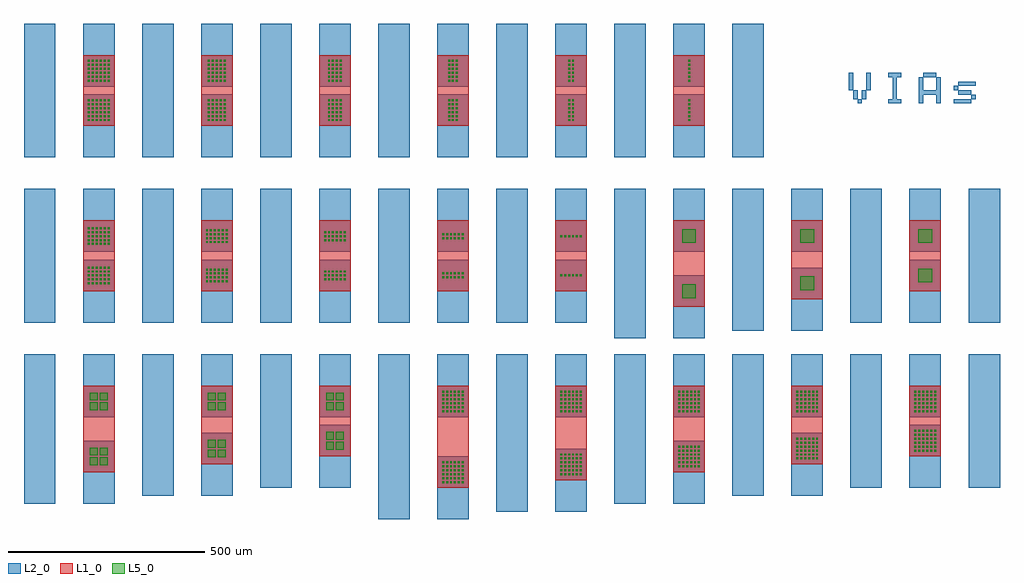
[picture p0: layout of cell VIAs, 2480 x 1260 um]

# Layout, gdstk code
import gdstk
lib = gdstk.Library(unit=1e-6, precision=1e-09)
def R(c, l, rs):  # rectangles x0, y0, x1, y1
    for r in rs: c.add(gdstk.rectangle(r[:2], r[2:], *l))
def A(c, l, x, y, w, h, nx, ny, dx, dy):  # array of equal rectangles
    R(c, l, [(x+i*dx, y+j*dy, x+i*dx+w, y+j*dy+h) for i in range(nx) for j in range(ny)])
def P(c, l, *ps):  # polygons
    for p in ps: c.add(gdstk.Polygon(p, *l))
L1_0 = (1, 0)
L2_0 = (2, 0)
L5_0 = (5, 0)

vias = lib.new_cell('VIAs')
A(vias, L1_0, -2967.977, 39525.417, 80, 180, 5, 1, 300, 0)
A(vias, L1_0, -2967.977, 39945.417, 80, 180, 6, 1, 300, 0)
R(vias, L1_0, [(-2067.977,39025.417,-1987.977,39285.417), (-1767.977,39045.417,-1687.977,39285.417), (-2967.977,39065.417,-2887.977,39285.417), (-1467.977,39065.417,-1387.977,39285.417), (-2667.977,39085.417,-2587.977,39285.417), (-1167.977,39085.417,-1087.977,39285.417), (-2367.977,39105.417,-2287.977,39285.417), (-867.977,39105.417,-787.977,39285.417), (-1467.977,39485.417,-1387.977,39705.417), (-1167.977,39505.417,-1087.977,39705.417), (-867.977,39525.417,-787.977,39705.417)])
A(vias, L2_0, -2967.977, 39205.417, 80, 160, 8, 2, 300, 420)
A(vias, L2_0, -3117.977, 39445.417, 80, 340, 5, 1, 300, 0)
A(vias, L2_0, -2967.977, 39445.417, 80, 160, 5, 1, 300, 0)
A(vias, L2_0, -3117.977, 39865.417, 80, 340, 7, 1, 300, 0)
A(vias, L2_0, -2967.977, 39865.417, 80, 160, 6, 2, 300, 180)
R(vias, L2_0, [(-2217.977,38945.417,-2137.977,39365.417), (-2067.977,38945.417,-1987.977,39105.417), (-1917.977,38965.417,-1837.977,39365.417), (-1767.977,38965.417,-1687.977,39125.417), (-3117.977,38985.417,-3037.977,39365.417), (-2967.977,38985.417,-2887.977,39145.417), (-1617.977,38985.417,-1537.977,39365.417), (-1467.977,38985.417,-1387.977,39145.417), (-2817.977,39005.417,-2737.977,39365.417), (-2667.977,39005.417,-2587.977,39165.417), (-1317.977,39005.417,-1237.977,39365.417), (-1167.977,39005.417,-1087.977,39165.417), (-2517.977,39025.417,-2437.977,39365.417), (-2367.977,39025.417,-2287.977,39185.417), (-1017.977,39025.417,-937.977,39365.417), (-867.977,39025.417,-787.977,39185.417), (-717.977,39025.417,-637.977,39365.417), (-1617.977,39405.417,-1537.977,39785.417), (-1467.977,39405.417,-1387.977,39565.417), (-1317.977,39425.417,-1237.977,39785.417), (-1167.977,39425.417,-1087.977,39585.417), (-1017.977,39445.417,-937.977,39785.417), (-867.977,39445.417,-787.977,39605.417), (-717.977,39445.417,-637.977,39785.417), (-999.838,40002.532,-988.727,40013.643), (-755.393,40002.532,-710.949,40013.643), (-1010.949,40013.643,-999.838,40035.866), (-988.727,40013.643,-977.616,40035.866), (-710.949,40013.643,-699.838,40024.754), (-744.282,40024.754,-710.949,40035.866), (-1022.06,40035.866,-1010.949,40080.31), (-977.616,40035.866,-966.504,40080.31), (-755.393,40035.866,-744.282,40046.977), (-744.282,40046.977,-699.838,40058.088), (-833.171,40069.199,-799.838,40080.31)])
P(vias, L2_0, [(-844.282,40002.532),(-844.282,40069.199),(-833.171,40069.199),(-833.171,40035.866),(-799.838,40035.866),(-799.838,40069.199),(-788.727,40069.199),(-788.727,40002.532),(-799.838,40002.532),(-799.838,40024.754),(-833.171,40024.754),(-833.171,40002.532)],
  [(-922.06,40002.532),(-922.06,40013.643),(-910.949,40013.643),(-910.949,40069.199),(-922.06,40069.199),(-922.06,40080.31),(-888.727,40080.31),(-888.727,40069.199),(-899.838,40069.199),(-899.838,40013.643),(-888.727,40013.643),(-888.727,40002.532)])
A(vias, L5_0, -2055.477, 39037.917, 5, 5, 6, 6, 10, 10)
A(vias, L5_0, -1755.477, 39057.917, 5, 5, 6, 6, 10, 10)
A(vias, L5_0, -1455.477, 39077.917, 5, 5, 6, 6, 10, 10)
A(vias, L5_0, -1155.477, 39097.917, 5, 5, 6, 6, 10, 10)
A(vias, L5_0, -855.477, 39117.917, 5, 5, 6, 6, 10, 10)
A(vias, L5_0, -2055.477, 39217.917, 5, 5, 6, 6, 10, 10)
A(vias, L5_0, -1755.477, 39217.917, 5, 5, 6, 6, 10, 10)
A(vias, L5_0, -1455.477, 39217.917, 5, 5, 6, 6, 10, 10)
A(vias, L5_0, -1155.477, 39217.917, 5, 5, 6, 6, 10, 10)
A(vias, L5_0, -855.477, 39217.917, 5, 5, 6, 6, 10, 10)
A(vias, L5_0, -2955.477, 39542.917, 5, 5, 6, 5, 10, 10)
A(vias, L5_0, -2655.477, 39547.917, 5, 5, 6, 4, 10, 10)
A(vias, L5_0, -2355.477, 39552.917, 5, 5, 6, 3, 10, 10)
A(vias, L5_0, -2055.477, 39557.917, 5, 5, 6, 2, 10, 10)
A(vias, L5_0, -1755.477, 39562.917, 5, 5, 6, 2, 10, 100)
A(vias, L5_0, -2955.477, 39642.917, 5, 5, 6, 5, 10, 10)
A(vias, L5_0, -2655.477, 39647.917, 5, 5, 6, 4, 10, 10)
A(vias, L5_0, -1445.477, 39647.917, 35, 35, 3, 1, 300, 0)
A(vias, L5_0, -2355.477, 39652.917, 5, 5, 6, 3, 10, 10)
A(vias, L5_0, -2055.477, 39657.917, 5, 5, 6, 2, 10, 10)
A(vias, L5_0, -2955.477, 39957.917, 5, 5, 6, 6, 10, 10)
A(vias, L5_0, -2650.477, 39957.917, 5, 5, 5, 6, 10, 10)
A(vias, L5_0, -2345.477, 39957.917, 5, 5, 4, 6, 10, 10)
A(vias, L5_0, -2040.477, 39957.917, 5, 5, 3, 6, 10, 10)
A(vias, L5_0, -1735.477, 39957.917, 5, 5, 1, 6, 0, 10)
A(vias, L5_0, -1725.477, 39957.917, 5, 5, 1, 6, 0, 10)
A(vias, L5_0, -1430.477, 39957.917, 5, 5, 1, 6, 0, 10)
A(vias, L5_0, -2955.477, 40057.917, 5, 5, 6, 6, 10, 10)
A(vias, L5_0, -2650.477, 40057.917, 5, 5, 5, 6, 10, 10)
A(vias, L5_0, -2345.477, 40057.917, 5, 5, 4, 6, 10, 10)
A(vias, L5_0, -2040.477, 40057.917, 5, 5, 3, 6, 10, 10)
A(vias, L5_0, -1735.477, 40057.917, 5, 5, 1, 6, 0, 10)
A(vias, L5_0, -1725.477, 40057.917, 5, 5, 1, 6, 0, 10)
A(vias, L5_0, -1430.477, 40057.917, 5, 5, 1, 6, 0, 10)
R(vias, L5_0, [(-2950.477,39082.917,-2930.477,39102.917), (-2925.477,39082.917,-2905.477,39102.917), (-2650.477,39102.917,-2630.477,39122.917), (-2625.477,39102.917,-2605.477,39122.917), (-2950.477,39107.917,-2930.477,39127.917), (-2925.477,39107.917,-2905.477,39127.917), (-2350.477,39122.917,-2330.477,39142.917), (-2325.477,39122.917,-2305.477,39142.917), (-2650.477,39127.917,-2630.477,39147.917), (-2625.477,39127.917,-2605.477,39147.917), (-2350.477,39147.917,-2330.477,39167.917), (-2325.477,39147.917,-2305.477,39167.917), (-2950.477,39222.917,-2930.477,39242.917), (-2925.477,39222.917,-2905.477,39242.917), (-2650.477,39222.917,-2630.477,39242.917), (-2625.477,39222.917,-2605.477,39242.917), (-2350.477,39222.917,-2330.477,39242.917), (-2325.477,39222.917,-2305.477,39242.917), (-2950.477,39247.917,-2930.477,39267.917), (-2925.477,39247.917,-2905.477,39267.917), (-2650.477,39247.917,-2630.477,39267.917), (-2625.477,39247.917,-2605.477,39267.917), (-2350.477,39247.917,-2330.477,39267.917), (-2325.477,39247.917,-2305.477,39267.917), (-1445.477,39507.917,-1410.477,39542.917), (-1145.477,39527.917,-1110.477,39562.917), (-845.477,39547.917,-810.477,39582.917)])

lib.write_gds('VIAs.gds')
